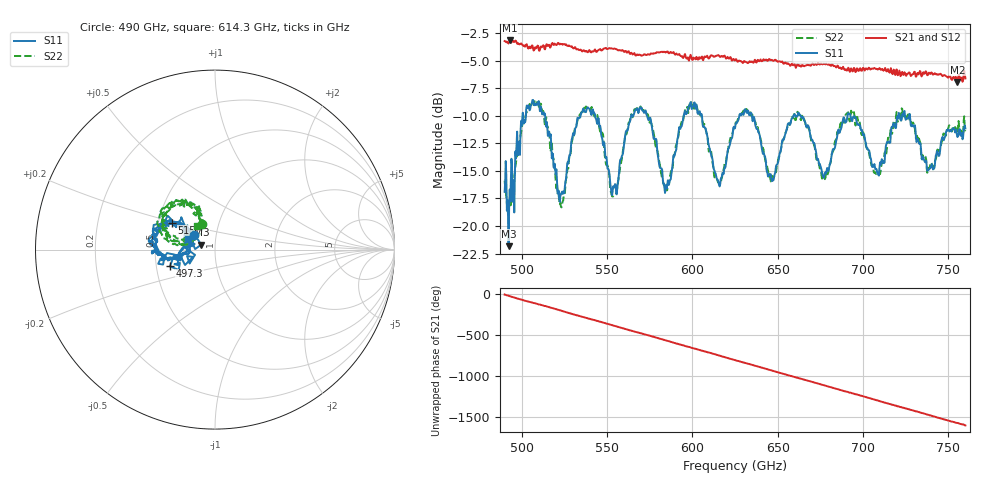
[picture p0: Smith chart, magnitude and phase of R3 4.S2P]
! Python used to change reference impedance from 50 to 1.
# Hz S RI R 1
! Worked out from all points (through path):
!   811 points, 490 GHz to 760 GHz, reference 1 ohm
!   highest |S21| = -3.18 dB at 493 GHz (marker M1); lowest = -6.9 dB at 755.3 GHz (marker M2)
!   group delay of S21, straight-line fit = 16.3 ps
!   lowest |S11| = -21.8 dB at 492.3 GHz (marker M3), VSWR 1.18, Z = 0.857 + j0.0479 ohm
!   |S11| at or under -10 dB: 663.4 GHz to 690.9 GHz (27.53 GHz wide, 4.07 % of centre); 692.7 GHz to 720.6 GHz (27.96 GHz wide, 3.96 % of centre); 727.5 GHz to end of sweep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
!   |S22| runs from -18.5 to -8.6 dB; largest |S21 - S12| = 0.13
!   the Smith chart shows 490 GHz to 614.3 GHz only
!   S11 on the Smith chart (normalised r, x): 490 GHz: 0.78, +0.13; 497.3 GHz: 0.59, -0.12; 515 GHz: 0.59, +0.19; 614.3 GHz: 0.73, +0.09
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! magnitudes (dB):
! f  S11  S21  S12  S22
! 490 GHz  -16.9  -3.2  -3.2  -15.9
! 492.3 GHz  -21.8  -3.5  -3.1  -18.3
! 493 GHz  -16.7  -3.2  -2.9  -17.6
! 497.3 GHz  -11.4  -3.5  -3.4  -13.5
! 515 GHz  -11.0  -3.6  -3.6  -11.0
! 523.3 GHz  -17.0  -3.5  -3.5  -18.3
! 535 GHz  -9.7  -4.1  -4.1  -9.7
! 553.7 GHz  -16.4  -3.9  -3.9  -17.3
! 567 GHz  -9.5  -4.5  -4.5  -9.4
! 580 GHz  -13.8  -4.3  -4.3  -13.5
! 585.3 GHz  -16.2  -4.2  -4.2  -16.7
! 600.3 GHz  -9.2  -4.9  -4.9  -9.0
! 614.3 GHz  -15.7  -4.6  -4.6  -15.6
! 625 GHz  -11.1  -5.0  -5.0  -10.9
! 646.7 GHz  -15.9  -4.9  -4.9  -15.5
! 659.3 GHz  -10.0  -5.4  -5.4  -10.0
! 670 GHz  -12.2  -5.3  -5.3  -12.2
! 677 GHz  -15.6  -5.3  -5.3  -15.5
! 690.3 GHz  -10.5  -5.9  -5.9  -9.9
! 715 GHz  -12.4  -5.9  -5.9  -12.0
! 755.3 GHz  -11.9  -6.9  -6.9  -11.6
! 760 GHz  -11.2  -6.6  -6.7  -11.4
